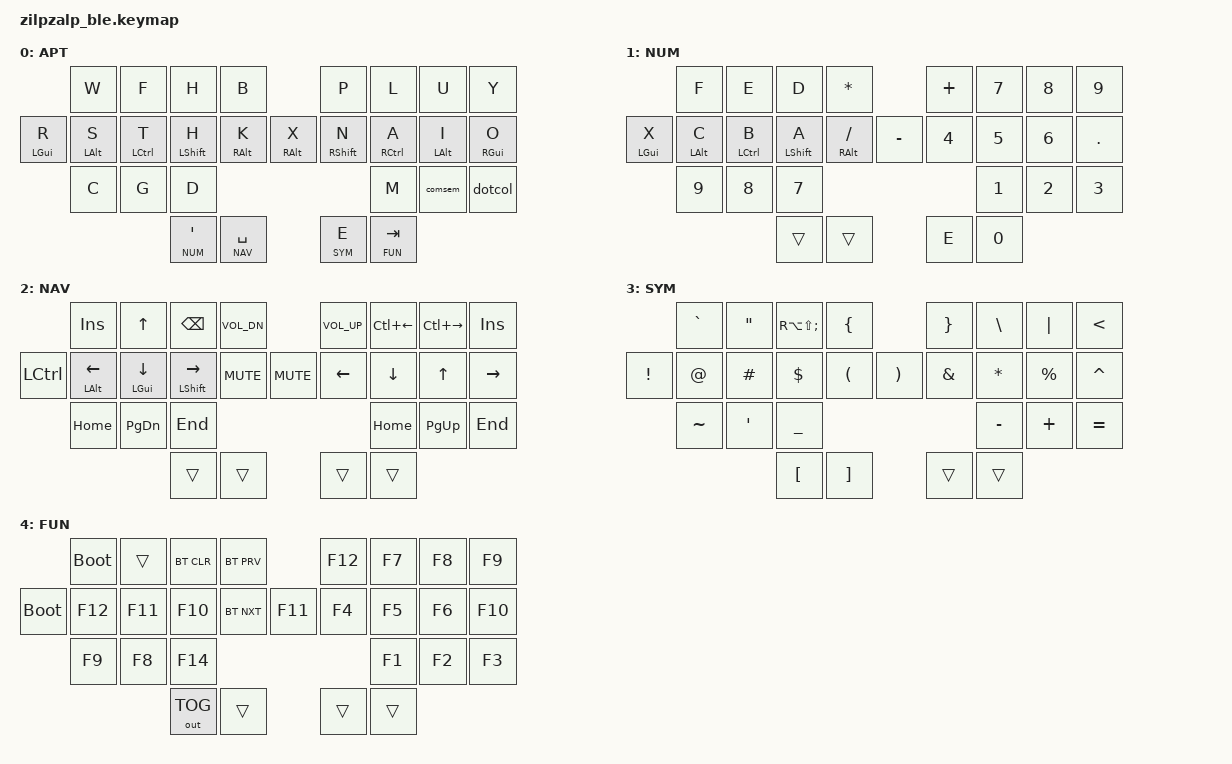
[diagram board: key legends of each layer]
#include <behaviors.dtsi>
#include <dt-bindings/zmk/bt.h>
#include <dt-bindings/zmk/keys.h>
#include <dt-bindings/zmk/outputs.h>

#define APT 0
#define NUM 1
#define NAV 2
#define SYM 3
#define FUN 4

// &lt {
//     quick_tap_ms = <170>;
// };

&caps_word { continue-list = <UNDERSCORE MINUS BSPC LSHFT RSHFT>; };

/ {
    macros {
        macro_th: macro_th {
            label = "Macro_th";
            compatible = "zmk,behavior-macro-one-param";
            #binding-cells = <1>;
            bindings =
                <&macro_tap>,
                <&kp T>,
                <&macro_release>,
                <&kp RSHIFT>,
                <&macro_tap>,
                <&kp H>;
        };
    };
};

#define COMBO(NAME, BINDINGS, KEYPOS) \
combo_##NAME { \
    timeout-ms = <30>; \
    bindings = <BINDINGS>; \
    key-positions = <KEYPOS>; \
};

/ {
    combos {
        compatible = "zmk,combos";

        /* usually on base layer */

        COMBO(enter, &kp ENTER, 21 15)

        //COMBO(backspc, &kp BACKSPACE, 10 11)
        //COMBO(ctrlbksp, &kp LC(BACKSPACE), 14 15)

        COMBO(q, &kp Q, 1 2)
        COMBO(z, &kp Z, 18 19)
        COMBO(v, &kp V, 0 1)
	COMBO(j, &kp J, 5 6)
        COMBO(_ae, &kp RA(A), 15 27)
        COMBO(_oe, &kp RA(O), 17 27)
        COMBO(_ue, &kp RA(U), 6 27)
        COMBO(_sz, &kp RA(S), 9 24)
        //COMBO(sch, &macro_sch, 0 2)
        COMBO(slash, &kp SLASH, 22 23)
        COMBO(dash, &kp MINUS, 21 22)

        //        COMBO(enter, &kp ENTER, 21 22 23)

        COMBO(esc, &kp ESC, 19 20)

        /* parentheticals */

        COMBO(lbrc, &kp LBRC, 0 9)
        COMBO(lbkt, &kp LBKT, 1 10)
        COMBO(lpar, &kp LPAR, 2 11)
        COMBO(lt, &kp LT, 3 12)
        COMBO(gt, &kp GT, 4 13)
        COMBO(rpar, &kp RPAR, 5 14)
        COMBO(rbkt, &kp RBKT, 6 15)
        COMBO(rbrc, &kp RBRC, 7 16)

        /* caps */

        COMBO(caps, &caps_word, 11 14)
        COMBO(capslock, &kp CAPSLOCK, 0 7)

        /* deletion */
        COMBO(bspc, &kp BSPC, 10 11)
        COMBO(del, &kp DEL, 6 7)
        COMBO(delword, &kp LC(BSPC), 14 15)

        /* alternative shifting */
        /*
        COMBO(Sq, &kp LS(Q), 1 2 25)
        COMBO(Sz, &kp LS(Z), 18 19 25)
        COMBO(Sv, &kp LS(V), 0 1 25)
        COMBO(Sw, &kp LS(W), 0 25)
        COMBO(Sf, &kp LS(F), 1 25)
        COMBO(Sp, &kp LS(P), 2 25)
        COMBO(Sb, &kp LS(B), 3 25)
        COMBO(Sj, &kp LS(J), 4 26)
        COMBO(Sl, &kp LS(L), 5 26)
        COMBO(Su, &kp LS(U), 6 26)
        COMBO(Sy, &kp LS(Y), 7 26)
        COMBO(Sr, &kp LS(R), 8 25)
        COMBO(Ss, &kp LS(S), 9 25)
        COMBO(St, &kp LS(T), 10 25)
        COMBO(Sh, &kp LS(H), 11 25)
        COMBO(Sk, &kp LS(K), 12 25)
        COMBO(Sx, &kp LS(X), 13 26)
        COMBO(Sn, &kp LS(N), 14 26)
        COMBO(Sa, &kp LS(A), 15 26)
        COMBO(Si, &kp LS(I), 16 26)
        COMBO(So, &kp LS(O), 17 26)
        COMBO(Sc, &kp LS(C), 18 25)
        COMBO(Sg, &kp LS(G), 19 25)
        COMBO(Sd, &kp LS(D), 20 25)
        COMBO(Sm, &kp LS(M), 21 26)
        COMBO(Scomma, &kp SEMI, 22 26)
        COMBO(Sdot, &kp COLON, 23 26)
        COMBO(Se, &kp LS(E), 14 15 26)*/
    };
};

//     __________________________  __________________________
//    /     0  |  1  |  2  |  3  \/   4 |   5 |   6 |   7    \
// |  8  |  9  | 10  | 11  | 12  /\  13 |  14 |  15 |  16 | 17  |
//    \    18  | 19  | 20    /        \    21 |  22 |  23   /
//          \    24  | 25  /            \  26 |  27    /
//           --------------              --------------

/ {
    behaviors {
        hl: homerow_mods_left {
            compatible = "zmk,behavior-hold-tap";
            label = "homerow mods left";
            #binding-cells = <2>;

            // flavor = "tap-preferred";

            flavor = "balanced";
            tapping-term-ms = <150>;
            quick-tap-ms = <100>;

            // global-quick-tap;

            bindings = <&kp>, <&kp>;

            // opposite side hand keys

            hold-trigger-key-positions = <4 5 6 7 13 14 15 16 17 21 22 23 24 25 26 27>;
        };
        hlh: homerow_mods_lefth {
            compatible = "zmk,behavior-hold-tap";
            label = "homerow mods left";
            #binding-cells = <2>;

            // flavor = "tap-preferred";

            flavor = "balanced";
            tapping-term-ms = <150>;
            quick-tap-ms = <100>;

            // global-quick-tap;

            bindings = <&kp>, <&macro_th>;

            // opposite side hand keys

            hold-trigger-key-positions = <4 5 6 7 13 14 15 16 17 21 22 23 24 25 26 27>;
        };

        hr: homerow_mods_right {
            compatible = "zmk,behavior-hold-tap";
            label = "homerow mods right";
            #binding-cells = <2>;

            // flavor = "tap-preferred";

            flavor = "balanced";
            tapping-term-ms = <150>;
            quick-tap-ms = <100>;

            // global-quick-tap;

            bindings = <&kp>, <&kp>;

            // opposite side hand keys

            hold-trigger-key-positions = <0 1 2 3 8 9 10 11 12 18 19 20 24 25 26 27>;
        };

        my_lt: my_layer_taps {
            compatible = "zmk,behavior-hold-tap";
            label = "my layer taps";
            #binding-cells = <2>;

            // flavor = "tap-preferred";

            flavor = "balanced";
            tapping-term-ms = <150>;
            quick-tap-ms = <100>;

            // global-quick-tap;

            bindings = <&mo>, <&kp>;

            // non-thumb keys
            // hold-trigger-key-positions = <0 1 2 3 4 5 6 7 8 9 10 11 12 13 14 15 16 17 18 19 20 21 22 23>;
        };

        dotcol: dot_colon {
            compatible = "zmk,behavior-mod-morph";
            label = "DOT_COL";
            #binding-cells = <0>;
            bindings = <&kp DOT>, <&kp COLON>;

            mods = <(MOD_LSFT|MOD_RSFT)>;
        };

        comsem: comma_semicolon {
            compatible = "zmk,behavior-mod-morph";
            label = "COM_SEM";
            #binding-cells = <0>;
            bindings = <&kp COMMA>, <&kp SEMI>;

            mods = <(MOD_LSFT|MOD_RSFT)>;
        };
    };
};

// zilpzalp key numbers
//     __________________________  __________________________
//    /     0  |  1  |  2  |  3  \/   4 |   5 |   6 |   7    \
// |  8  |  9  | 10  | 11  | 12  /\  13 |  14 |  15 |  16 | 17  |
//    \    18  | 19  | 20    /        \    21 |  22 |  23   /
//          \    24  | 25  /            \  26 |  27    /
//           --------------              --------------

/ {
    keymap {
        compatible = "zmk,keymap";

        aptmak {
            label = "APT";
            bindings = <
            &kp W       &kp F        &kp H           &kp B             &kp P         &kp L           &kp U        &kp Y
&hl LGUI R  &hl LALT S  &hl LCTRL T  &hlh LSHFT H &hl RALT K   &hr RALT X    &hr RSHFT N     &hr RCTRL A  &hr LALT I  &hr RGUI O
            &kp C       &kp G        &kp D                                           &kp M           &comsem      &dotcol
                                     &my_lt NUM SQT  &my_lt NAV SPACE  &my_lt SYM E  &my_lt FUN TAB
            >;
        };

        numbers {
            label = "NUM";
            bindings = <
                &kp F       &kp E        &kp D        &kp ASTERISK    &kp PLUS   &kp N7  &kp N8  &kp N9
&hl LEFT_GUI X  &hl LALT C  &hl LCTRL B  &hl LSHFT A  &hl RALT SLASH  &kp MINUS  &kp N4  &kp N5  &kp N6  &kp DOT
                &kp N9      &kp N8       &kp N7                                  &kp N1  &kp N2  &kp N3
                                         &trans       &trans          &kp E      &kp N0
            >;
        };

        navigation {
            label = "NAV";
            bindings = <
           &kp INSERT     &kp UP         &kp BSPC         &kp C_VOL_DN  &kp C_VOL_UP  &kp LC(LEFT)  &kp LC(RIGHT)  &kp INSERT
&kp LCTRL  &hl LALT LEFT  &hl LGUI DOWN  &hl LSHFT RIGHT  &kp C_MUTE    &kp C_MUTE    &kp LEFT      &kp DOWN       &kp UP      &kp RIGHT
           &kp HOME       &kp PG_DN      &kp END                                      &kp HOME      &kp PG_UP      &kp END
                                         &trans           &trans        &trans        &trans
            >;
        };

        symbols {
            label = "SYM";
            bindings = <
          &kp GRAVE  &kp DQT   &kp RA(LS(SEMI))  &kp LBRC  &kp RBRC  &kp BACKSLASH  &kp PIPE      &kp LT
&kp EXCL  &kp AT     &kp HASH  &kp DOLLAR        &kp LPAR  &kp RPAR  &kp AMPERSAND  &kp ASTERISK  &kp PERCENT  &kp CARET
          &kp TILDE  &kp SQT   &kp UNDERSCORE                        &kp MINUS      &kp PLUS      &kp EQUAL
                               &kp LBKT          &kp RBKT  &trans    &trans
            >;
        };

        function {
            label = "FUN";
            bindings = <
             &bootloader  &trans   &bt BT_CLR    &bt BT_PRV  &kp F12  &kp F7  &kp F8  &kp F9
&bootloader  &kp F12      &kp F11  &kp F10       &bt BT_NXT  &kp F11  &kp F4  &kp F5  &kp F6  &kp F10
             &kp F9       &kp F8   &kp F14                            &kp F1  &kp F2  &kp F3
                                   &out OUT_TOG  &trans      &trans   &trans
            >;
        };
    };
};

//     __________________________  __________________________
//    /     1  |  2  |  3  |  4  \/   5 |   6 |   7 |   8    \
// | 10  | 11  | 12  | 13  | 14  ||  15 |  16 |  17 |  18 | 19  |
//    \    20  | 21  | 22  |     ||     |  23 |  24 |  25   /
//                \    26  | 27  /\  28 |  29    /
//                 --------------  --------------
